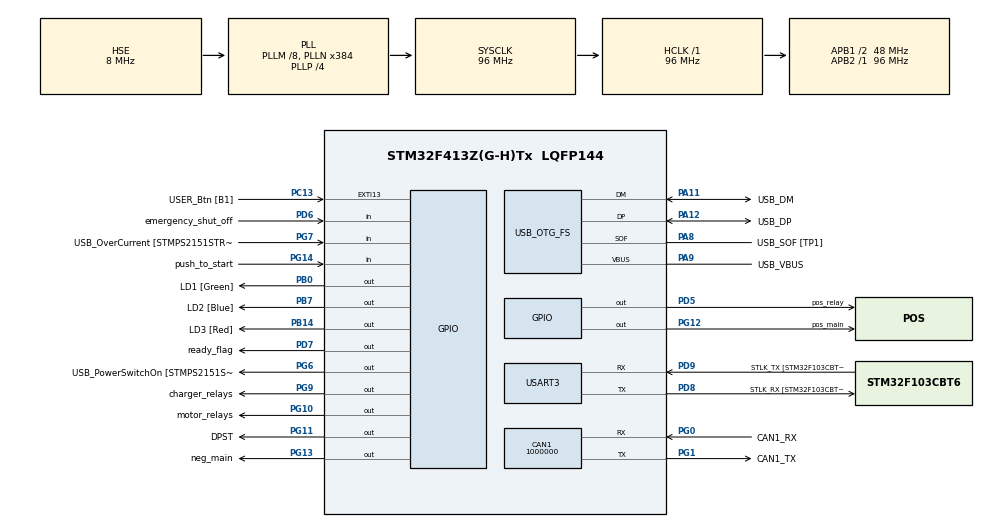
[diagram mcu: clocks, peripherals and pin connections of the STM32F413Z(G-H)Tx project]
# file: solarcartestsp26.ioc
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CAN1.CalculateBaudRate=1000000
CAN1.CalculateTimeQuantum=333.3333333333333
FREERTOS.Tasks01=defaultTask,24,128,StartDefaultTask,Default,NULL,Dynamic,NULL,NULL
Mcu.Family=STM32F4
Mcu.Name=STM32F413Z(G-H)Tx
Mcu.Package=LQFP144
NVIC.PriorityGroup=NVIC_PRIORITYGROUP_4
NVIC.TIM6_DAC_IRQn=true\:15\:0\:false\:false\:true\:false\:false\:true\:true
NVIC.TimeBase=TIM6_DAC_IRQn
NVIC.TimeBaseIP=TIM6
PA10.GPIO_Label=USB_ID
PA10.Signal=USB_OTG_FS_ID
PA11.GPIO_Label=USB_DM
PA11.Mode=Device_Only
PA11.Signal=USB_OTG_FS_DM
PA12.GPIO_Label=USB_DP
PA12.Mode=Device_Only
PA12.Signal=USB_OTG_FS_DP
PA13.GPIO_Label=TMS
PA13.Mode=Serial_Wire
PA13.Signal=SYS_JTMS-SWDIO
PA14.GPIO_Label=TCK
PA14.Mode=Serial_Wire
PA14.Signal=SYS_JTCK-SWCLK
PA8.GPIO_Label=USB_SOF [TP1]
PA8.Mode=Activate_SOF_FS
PA8.Signal=USB_OTG_FS_SOF
PA9.GPIO_Label=USB_VBUS
PA9.Mode=Activate_VBUS
PA9.Signal=USB_OTG_FS_VBUS
PB0.GPIO_Label=LD1 [Green]
PB0.Signal=GPIO_Output
PB14.GPIO_Label=LD3 [Red]
PB14.Signal=GPIO_Output
PB3.GPIO_Label=SWO
PB3.Signal=SYS_JTDO-SWO
PB7.GPIO_Label=LD2 [Blue]
PB7.Signal=GPIO_Output
PC13.GPIO_Label=USER_Btn [B1]
PC13.Signal=GPXTI13
PC14-OSC32_IN.Mode=LSE-External-Oscillator
PC14-OSC32_IN.Signal=RCC_OSC32_IN
PC15-OSC32_OUT.Mode=LSE-External-Oscillator
PC15-OSC32_OUT.Signal=RCC_OSC32_OUT
PD5.GPIO_Label=pos_relay
PD5.Signal=GPIO_Output
PD6.GPIO_Label=emergency_shut_off
PD6.Signal=GPIO_Input
PD7.GPIO_Label=ready_flag
PD7.Signal=GPIO_Output
PD8.GPIO_Label=STLK_RX [STM32F103CBT6_PA3]
PD8.Mode=Asynchronous
PD8.Signal=USART3_TX
PD9.GPIO_Label=STLK_TX [STM32F103CBT6_PA2]
PD9.Mode=Asynchronous
PD9.Signal=USART3_RX
PG0.GPIO_Label=CAN1_RX
PG0.Mode=CAN_Activate
PG0.Signal=CAN1_RX
PG1.GPIO_Label=CAN1_TX
PG1.Mode=CAN_Activate
PG1.Signal=CAN1_TX
PG10.GPIO_Label=motor_relays
PG10.Signal=GPIO_Output
PG11.GPIO_Label=DPST
PG11.Signal=GPIO_Output
PG12.GPIO_Label=pos_main
PG12.Signal=GPIO_Output
PG13.GPIO_Label=neg_main
PG13.Signal=GPIO_Output
PG14.GPIO_Label=push_to_start
PG14.Signal=GPIO_Input
PG6.GPIO_Label=USB_PowerSwitchOn [STMPS2151STR_EN]
PG6.Signal=GPIO_Output
PG7.GPIO_Label=USB_OverCurrent [STMPS2151STR_FAULT]
PG7.Signal=GPIO_Input
PG9.GPIO_Label=charger_relays
PG9.Signal=GPIO_Output
PH0\ -\ OSC_IN.GPIO_Label=MCO
PH0\ -\ OSC_IN.Mode=HSE-External-Clock-Source
PH0\ -\ OSC_IN.Signal=RCC_OSC_IN
PH1\ -\ OSC_OUT.Mode=HSE-External-Clock-Source
PH1\ -\ OSC_OUT.Signal=RCC_OSC_OUT
ProjectManager.HeapSize=0x200
ProjectManager.StackSize=0x400
ProjectManager.TargetToolchain=EWARM V8.50
RCC.48MHZClocksFreq_Value=24000000
RCC.AHBFreq_Value=96000000
RCC.APB1CLKDivider=RCC_HCLK_DIV2
RCC.APB1Freq_Value=48000000
RCC.APB1TimFreq_Value=96000000
RCC.APB2Freq_Value=96000000
RCC.APB2TimFreq_Value=96000000
RCC.CortexFreq_Value=96000000
RCC.HCLKFreq_Value=96000000
RCC.HSE_VALUE=8000000
RCC.HSI_VALUE=16000000
RCC.PLLM=8
RCC.PLLMUL=RCC_PLL_MUL9
RCC.PLLN=384
RCC.PLLP=RCC_PLLP_DIV4
RCC.PLLQ=8
RCC.PLLSourceVirtual=RCC_PLLSOURCE_HSE
RCC.PRESCALERUSB=RCC_USBCLKSOURCE_PLL_DIV1_5
RCC.SYSCLKFreq_VALUE=96000000
RCC.SYSCLKSource=RCC_SYSCLKSOURCE_PLLCLK
RCC.SYSCLKSourceVirtual=RCC_SYSCLKSOURCE_PLLCLK
RCC.USBFreq_Value=48000000
RCC.VCOOutputFreq_Value=384000000
USART3.VirtualMode=VM_ASYNC
USB_OTG_FS.VirtualMode=Device_Only
VP_FREERTOS_VS_CMSIS_V2.Mode=CMSIS_V2
VP_SYS_VS_tim6.Mode=TIM6
board=NUCLEO-F413ZH

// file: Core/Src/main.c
/* USER CODE BEGIN Header */
/**
  ******************************************************************************
  * @file           : main.c
  * @brief          : Main program body
  ******************************************************************************
  * @attention
  *
  * Copyright (c) 2026 STMicroelectronics.
  * All rights reserved.
  *
  * This software is licensed under terms that can be found in the LICENSE file
  * in the root directory of this software component.
  * If no LICENSE file comes with this software, it is provided AS-IS.
  *
  ******************************************************************************
  */
/* USER CODE END Header */
#include "main.h"
#include "cmsis_os.h"

CAN_HandleTypeDef hcan1;

UART_HandleTypeDef huart3;

PCD_HandleTypeDef hpcd_USB_OTG_FS;

/* Definitions for defaultTask */
osThreadId_t defaultTaskHandle;
const osThreadAttr_t defaultTask_attributes = {
  .name = "defaultTask",
  .stack_size = 128 * 4,
  .priority = (osPriority_t) osPriorityNormal,
};

void SystemClock_Config(void);
static void MX_GPIO_Init(void);
static void MX_USART3_UART_Init(void);
static void MX_USB_OTG_FS_PCD_Init(void);
static void MX_CAN1_Init(void);
void StartDefaultTask(void *argument);

int main(void)
{

  /* MCU Configuration--------------------------------------------------------*/

  /* Reset of all peripherals, Initializes the Flash interface and the Systick. */
  HAL_Init();

  /* Configure the system clock */
  SystemClock_Config();

  /* Initialize all configured peripherals */
  MX_GPIO_Init();
  MX_USART3_UART_Init();
  MX_USB_OTG_FS_PCD_Init();
  MX_CAN1_Init();
  /* USER CODE BEGIN 2 */
  // ASSERT ALL RELAYS TO OFF POSITION
  HAL_GPIO_WritePin(neg_main_GPIO_Port, neg_main_Pin, GPIO_PIN_RESET);
  HAL_GPIO_WritePin(pos_main_GPIO_Port, pos_main_Pin, GPIO_PIN_RESET);
  HAL_GPIO_WritePin(pos_relay_GPIO_Port, pos_relay_Pin, GPIO_PIN_RESET);
  HAL_GPIO_WritePin(DPST_GPIO_Port, DPST_Pin, GPIO_PIN_RESET);
  HAL_GPIO_WritePin(motor_relays_GPIO_Port, motor_relays_Pin, GPIO_PIN_RESET);
  HAL_GPIO_WritePin(charger_relays_GPIO_Port, charger_relays_Pin, GPIO_PIN_RESET);
  HAL_GPIO_WritePin(ready_flag_GPIO_Port, ready_flag_Pin, GPIO_PIN_RESET);
  /* USER CODE END 2 */

  /* Init scheduler */
  osKernelInitialize();

  /* Create the thread(s) */
  /* creation of defaultTask */
  defaultTaskHandle = osThreadNew(StartDefaultTask, NULL, &defaultTask_attributes);

  /* Start scheduler */
  osKernelStart();

  /* We should never get here as control is now taken by the scheduler */

  /* Infinite loop */
  while (1)
  {

  }
}

void SystemClock_Config(void)
{
  RCC_OscInitTypeDef RCC_OscInitStruct = {0};
  RCC_ClkInitTypeDef RCC_ClkInitStruct = {0};

  /** Configure the main internal regulator output voltage
  */
  __HAL_RCC_PWR_CLK_ENABLE();
  __HAL_PWR_VOLTAGESCALING_CONFIG(PWR_REGULATOR_VOLTAGE_SCALE1);

  /** Initializes the RCC Oscillators according to the specified parameters
  * in the RCC_OscInitTypeDef structure.
  */
  RCC_OscInitStruct.OscillatorType = RCC_OSCILLATORTYPE_HSE;
  RCC_OscInitStruct.HSEState = RCC_HSE_BYPASS;
  RCC_OscInitStruct.PLL.PLLState = RCC_PLL_ON;
  RCC_OscInitStruct.PLL.PLLSource = RCC_PLLSOURCE_HSE;
  RCC_OscInitStruct.PLL.PLLM = 8;
  RCC_OscInitStruct.PLL.PLLN = 384;
  RCC_OscInitStruct.PLL.PLLP = RCC_PLLP_DIV4;
  RCC_OscInitStruct.PLL.PLLQ = 8;
  RCC_OscInitStruct.PLL.PLLR = 2;
  if (HAL_RCC_OscConfig(&RCC_OscInitStruct) != HAL_OK)
  {
    Error_Handler();
  }

  /** Initializes the CPU, AHB and APB buses clocks
  */
  RCC_ClkInitStruct.ClockType = RCC_CLOCKTYPE_HCLK|RCC_CLOCKTYPE_SYSCLK
                              |RCC_CLOCKTYPE_PCLK1|RCC_CLOCKTYPE_PCLK2;
  RCC_ClkInitStruct.SYSCLKSource = RCC_SYSCLKSOURCE_PLLCLK;
  RCC_ClkInitStruct.AHBCLKDivider = RCC_SYSCLK_DIV1;
  RCC_ClkInitStruct.APB1CLKDivider = RCC_HCLK_DIV2;
  RCC_ClkInitStruct.APB2CLKDivider = RCC_HCLK_DIV1;

  if (HAL_RCC_ClockConfig(&RCC_ClkInitStruct, FLASH_LATENCY_3) != HAL_OK)
  {
    Error_Handler();
  }
}

static void MX_CAN1_Init(void)
{

  hcan1.Instance = CAN1;
  hcan1.Init.Prescaler = 16;
  hcan1.Init.Mode = CAN_MODE_NORMAL;
  hcan1.Init.SyncJumpWidth = CAN_SJW_1TQ;
  hcan1.Init.TimeSeg1 = CAN_BS1_1TQ;
  hcan1.Init.TimeSeg2 = CAN_BS2_1TQ;
  hcan1.Init.TimeTriggeredMode = DISABLE;
  hcan1.Init.AutoBusOff = DISABLE;
  hcan1.Init.AutoWakeUp = DISABLE;
  hcan1.Init.AutoRetransmission = DISABLE;
  hcan1.Init.ReceiveFifoLocked = DISABLE;
  hcan1.Init.TransmitFifoPriority = DISABLE;
  if (HAL_CAN_Init(&hcan1) != HAL_OK)
  {
    Error_Handler();
  }

}

static void MX_USART3_UART_Init(void)
{

  huart3.Instance = USART3;
  huart3.Init.BaudRate = 115200;
  huart3.Init.WordLength = UART_WORDLENGTH_8B;
  huart3.Init.StopBits = UART_STOPBITS_1;
  huart3.Init.Parity = UART_PARITY_NONE;
  huart3.Init.Mode = UART_MODE_TX_RX;
  huart3.Init.HwFlowCtl = UART_HWCONTROL_NONE;
  huart3.Init.OverSampling = UART_OVERSAMPLING_16;
  if (HAL_UART_Init(&huart3) != HAL_OK)
  {
    Error_Handler();
  }

}

static void MX_USB_OTG_FS_PCD_Init(void)
{

  hpcd_USB_OTG_FS.Instance = USB_OTG_FS;
  hpcd_USB_OTG_FS.Init.dev_endpoints = 6;
  hpcd_USB_OTG_FS.Init.speed = PCD_SPEED_FULL;
  hpcd_USB_OTG_FS.Init.dma_enable = DISABLE;
  hpcd_USB_OTG_FS.Init.phy_itface = PCD_PHY_EMBEDDED;
  hpcd_USB_OTG_FS.Init.Sof_enable = ENABLE;
  hpcd_USB_OTG_FS.Init.low_power_enable = DISABLE;
  hpcd_USB_OTG_FS.Init.lpm_enable = DISABLE;
  hpcd_USB_OTG_FS.Init.battery_charging_enable = ENABLE;
  hpcd_USB_OTG_FS.Init.vbus_sensing_enable = ENABLE;
  hpcd_USB_OTG_FS.Init.use_dedicated_ep1 = DISABLE;
  if (HAL_PCD_Init(&hpcd_USB_OTG_FS) != HAL_OK)
  {
    Error_Handler();
  }

}

static void MX_GPIO_Init(void)
{
  GPIO_InitTypeDef GPIO_InitStruct = {0};

  /* GPIO Ports Clock Enable */
  __HAL_RCC_GPIOC_CLK_ENABLE();
  __HAL_RCC_GPIOH_CLK_ENABLE();
  __HAL_RCC_GPIOB_CLK_ENABLE();
  __HAL_RCC_GPIOG_CLK_ENABLE();
  __HAL_RCC_GPIOD_CLK_ENABLE();
  __HAL_RCC_GPIOA_CLK_ENABLE();

  /*Configure GPIO pin Output Level */
  HAL_GPIO_WritePin(GPIOB, LD1_Pin|LD3_Pin|LD2_Pin, GPIO_PIN_RESET);

  /*Configure GPIO pin Output Level */
  HAL_GPIO_WritePin(GPIOG, USB_PowerSwitchOn_Pin|charger_relays_Pin|motor_relays_Pin|DPST_Pin
                          |pos_main_Pin|neg_main_Pin, GPIO_PIN_RESET);

  /*Configure GPIO pin Output Level */
  HAL_GPIO_WritePin(GPIOD, pos_relay_Pin|ready_flag_Pin, GPIO_PIN_RESET);

  /*Configure GPIO pin : USER_Btn_Pin */
  GPIO_InitStruct.Pin = USER_Btn_Pin;
  GPIO_InitStruct.Mode = GPIO_MODE_IT_RISING;
  GPIO_InitStruct.Pull = GPIO_NOPULL;
  HAL_GPIO_Init(USER_Btn_GPIO_Port, &GPIO_InitStruct);

  /*Configure GPIO pins : LD1_Pin LD3_Pin LD2_Pin */
  GPIO_InitStruct.Pin = LD1_Pin|LD3_Pin|LD2_Pin;
  GPIO_InitStruct.Mode = GPIO_MODE_OUTPUT_PP;
  GPIO_InitStruct.Pull = GPIO_NOPULL;
  GPIO_InitStruct.Speed = GPIO_SPEED_FREQ_LOW;
  HAL_GPIO_Init(GPIOB, &GPIO_InitStruct);

  /*Configure GPIO pins : USB_PowerSwitchOn_Pin charger_relays_Pin motor_relays_Pin DPST_Pin
                           pos_main_Pin neg_main_Pin */
  GPIO_InitStruct.Pin = USB_PowerSwitchOn_Pin|charger_relays_Pin|motor_relays_Pin|DPST_Pin
                          |pos_main_Pin|neg_main_Pin;
  GPIO_InitStruct.Mode = GPIO_MODE_OUTPUT_PP;
  GPIO_InitStruct.Pull = GPIO_NOPULL;
  GPIO_InitStruct.Speed = GPIO_SPEED_FREQ_LOW;
  HAL_GPIO_Init(GPIOG, &GPIO_InitStruct);

  /*Configure GPIO pins : USB_OverCurrent_Pin push_to_start_Pin */
  GPIO_InitStruct.Pin = USB_OverCurrent_Pin|push_to_start_Pin;
  GPIO_InitStruct.Mode = GPIO_MODE_INPUT;
  GPIO_InitStruct.Pull = GPIO_NOPULL;
  HAL_GPIO_Init(GPIOG, &GPIO_InitStruct);

  /*Configure GPIO pins : pos_relay_Pin ready_flag_Pin */
  GPIO_InitStruct.Pin = pos_relay_Pin|ready_flag_Pin;
  GPIO_InitStruct.Mode = GPIO_MODE_OUTPUT_PP;
  GPIO_InitStruct.Pull = GPIO_NOPULL;
  GPIO_InitStruct.Speed = GPIO_SPEED_FREQ_LOW;
  HAL_GPIO_Init(GPIOD, &GPIO_InitStruct);

  /*Configure GPIO pin : emergency_shut_off_Pin */
  GPIO_InitStruct.Pin = emergency_shut_off_Pin;
  GPIO_InitStruct.Mode = GPIO_MODE_INPUT;
  GPIO_InitStruct.Pull = GPIO_NOPULL;
  HAL_GPIO_Init(emergency_shut_off_GPIO_Port, &GPIO_InitStruct);

}

void StartDefaultTask(void *argument)
{
  /* USER CODE BEGIN 5 */
  /* Infinite loop */
  for(;;)
  {
    osDelay(1);
	if (HAL_GPIO_ReadPin(emergency_shut_off_GPIO_Port, emergency_shut_off_Pin) == GPIO_PIN_SET)
    {
      HAL_GPIO_WritePin(DPST_GPIO_Port, DPST_Pin, GPIO_PIN_RESET);
      HAL_GPIO_WritePin(neg_main_GPIO_Port, neg_main_Pin, GPIO_PIN_RESET);
      HAL_GPIO_WritePin(ready_flag_GPIO_Port, ready_flag_Pin, GPIO_PIN_RESET);
    }

    if (HAL_GPIO_ReadPin(push_to_start_GPIO_Port, push_to_start_Pin) == GPIO_PIN_SET)
    {
      HAL_GPIO_WritePin(neg_main_GPIO_Port, neg_main_Pin, GPIO_PIN_SET);
      osDelay(1000);
      HAL_GPIO_WritePin(pos_main_GPIO_Port, pos_main_Pin, GPIO_PIN_SET);
      osDelay(1000);
      HAL_GPIO_WritePin(DPST_GPIO_Port, DPST_Pin, GPIO_PIN_SET);
      osDelay(5000);
      HAL_GPIO_WritePin(motor_relays_GPIO_Port, motor_relays_Pin, GPIO_PIN_SET);
      osDelay(10000);
      HAL_GPIO_WritePin(charger_relays_GPIO_Port, charger_relays_Pin, GPIO_PIN_SET);
      HAL_GPIO_WritePin(ready_flag_GPIO_Port, ready_flag_Pin, GPIO_PIN_SET);
    }
  }
  /* USER CODE END 5 */
}

void HAL_TIM_PeriodElapsedCallback(TIM_HandleTypeDef *htim)
{
  if (htim->Instance == TIM6)
  {
    HAL_IncTick();
  }
}

void Error_Handler(void)
{
  __disable_irq();
  while (1)
  {
  }
}
